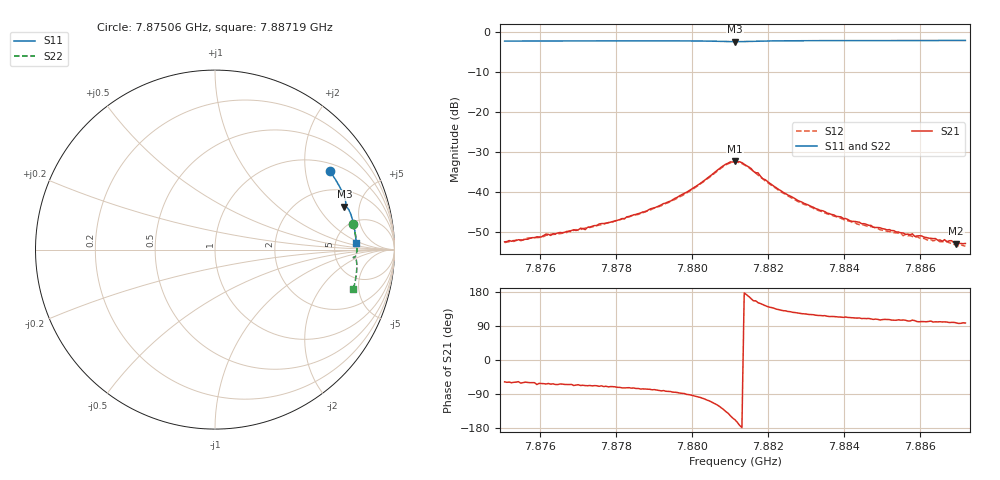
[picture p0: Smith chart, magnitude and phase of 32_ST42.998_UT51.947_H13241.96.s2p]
#  HZ  S  DB  R  50.00
! Rohde & Schwarz Vector Network Analyzer
! Rohde-Schwarz,ZNB20-2Port,1311601062101988,3.16
! Created: UTC 1/12/2023, 6:31:29 PM
! freq[Hz]  db:S11  ang:S11  db:S21  ang:S21  db:S12  ang:S12  db:S22  ang:S22
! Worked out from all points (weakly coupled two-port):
!   201 points, 7.87506 GHz to 7.88719 GHz, reference 50 ohm
!   highest |S21| = -32.42 dB at 7.88113 GHz (marker M1); lowest = -53.0 dB at 7.88695 GHz (marker M2)
!   lowest |S11| = -2.4 dB at 7.88113 GHz (marker M3), VSWR 7.34, Z = 157 + j177 ohm
!   |S11| at or under -10 dB: nowhere
!   |S22| runs from -2.3 to -1.9 dB; largest |S21 - S12| = 0.002
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7.875062e9  -2.23 34.4  -52.57 -57.6  -52.76 -62.8  -2.14 10.4
7.877124e9  -2.19 28.7  -49.23 -66.7  -49.25 -71.2  -2.08 5.5
7.878216e9  -2.18 25.7  -46.82 -73.7  -46.69 -76.2  -2.05 3.0
7.879126e9  -2.17 23.2  -43.57 -80.2  -43.73 -83.9  -2.04 0.9
7.879733e9  -2.18 21.5  -40.71 -87.8  -41.02 -91.9  -2.05 -0.6
7.880885e9  -2.34 18.4  -33.09 -136.1  -33.28 -138.7  -2.21 -3.4
7.881128e9  -2.38 18.3  -32.42 -157.8  -32.52 -162.5  -2.25 -3.3
7.88131e9  -2.36 18.4  -32.71 -178.2  -32.92 179.2  -2.23 -3.1
7.882341e9  -2.16 15.9  -39.77 131.4  -40.07 128.4  -2.02 -5.1
7.88319e9  -2.13 13.4  -43.89 119.5  -44.15 115.2  -1.98 -7.1
7.88416e9  -2.11 10.8  -47.32 111.8  -47.43 108.2  -1.95 -9.4
7.885191e9  -2.10 8.1  -49.50 106.6  -50.00 103.2  -1.94 -11.7
7.885616e9  -2.09 7.0  -50.70 104.9  -50.73 101.2  -1.93 -12.6
7.885798e9  -2.09 6.5  -50.57 105.3  -51.22 98.9  -1.93 -13.0
7.885859e9  -2.09 6.3  -51.19 103.9  -51.51 101.3  -1.93 -13.2
7.88604e9  -2.08 5.9  -51.08 101.5  -51.76 98.6  -1.93 -13.5
7.886586e9  -2.08 4.4  -52.43 100.4  -52.52 97.2  -1.93 -14.7
7.886647e9  -2.08 4.3  -52.02 100.7  -52.53 98.7  -1.92 -14.9
7.886708e9  -2.08 4.1  -52.59 100.1  -52.43 97.5  -1.92 -14.9
7.886829e9  -2.08 3.8  -52.27 99.3  -52.99 96.3  -1.91 -15.3
7.88695e9  -2.08 3.5  -53.04 98.1  -53.34 97.0  -1.92 -15.5
7.887193e9  -2.07 2.8  -52.97 97.6  -53.65 94.0  -1.92 -16.0
